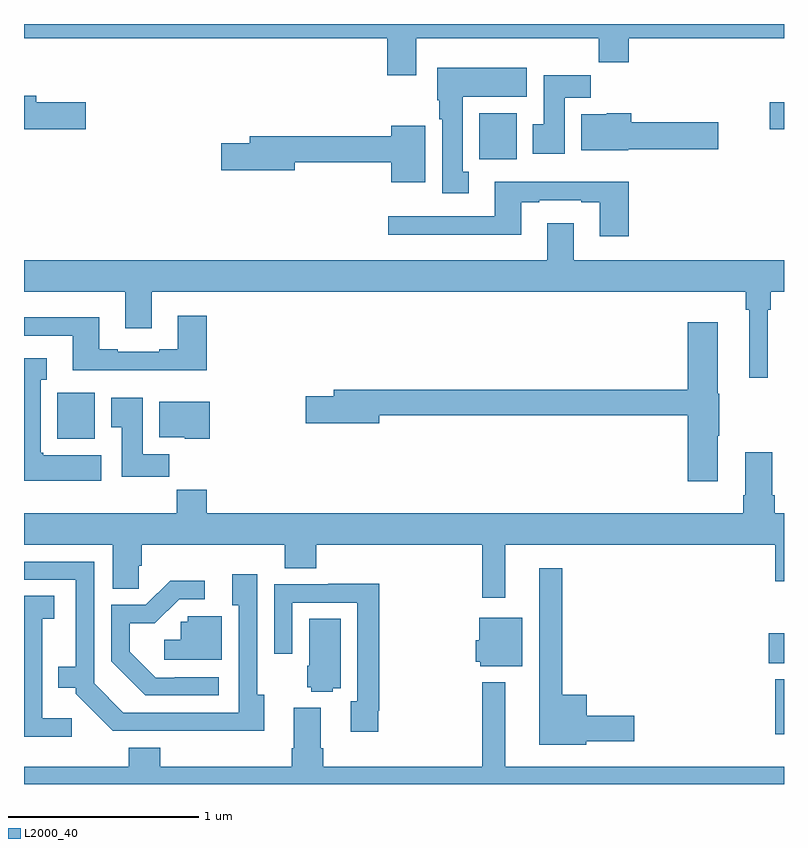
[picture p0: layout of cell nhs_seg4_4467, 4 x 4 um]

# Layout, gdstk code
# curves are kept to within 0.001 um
import gdstk
lib = gdstk.Library(unit=1e-6, precision=1e-09)
def R(c, l, rs):  # rectangles x0, y0, x1, y1
    for r in rs: c.add(gdstk.rectangle(r[:2], r[2:], *l))
def P(c, l, *ps):  # polygons
    for p in ps: c.add(gdstk.Polygon(p, *l))
L2000_40 = (2000, 40)

nhs_seg4_4467 = lib.new_cell('nhs_seg4_4467')
R(nhs_seg4_4467, L2000_40, [(354.953,789.162,355,789.451), (354.921,789.536,355,789.694), (351.176,790.718,351.373,790.96), (353.396,792.188,353.593,792.43), (354.924,792.347,355,792.489)])
P(nhs_seg4_4467, L2000_40, [(353.065,792.824),(354.025,792.824),(354.025,792.7),(354.182,792.7),(354.182,792.824),(355,792.824),(355,792.9),(351,792.9),(351,792.824),(352.913,792.824),(352.913,792.63),(353.065,792.63)],
  [(353.341,792.122),(353.308,792.122),(353.308,792.518),(353.647,792.518),(353.647,792.67),(353.174,792.67),(353.174,792.498),(353.186,792.498),(353.186,792.398),(353.201,792.398),(353.201,792.009),(353.341,792.009)],
  [(353.845,792.512),(353.984,792.512),(353.984,792.631),(353.735,792.631),(353.735,792.372),(353.678,792.372),(353.678,792.216),(353.845,792.216)],
  [(351.325,792.489),(351.064,792.489),(351.064,792.523),(351,792.523),(351,792.347),(351.325,792.347)],
  [(354.18,792.242),(354.655,792.242),(354.655,792.384),(354.197,792.384),(354.197,792.43),(354.066,792.43),(354.066,792.424),(353.933,792.424),(353.933,792.236),(354.18,792.236)],
  [(353.113,792.364),(352.934,792.364),(352.934,792.308),(352.187,792.308),(352.187,792.272),(352.038,792.272),(352.038,792.13),(352.426,792.13),(352.426,792.172),(352.934,792.172),(352.934,792.068),(353.113,792.068)],
  [(354.182,792.07),(353.477,792.07),(353.477,791.889),(352.917,791.889),(352.917,791.792),(353.617,791.792),(353.617,791.961),(353.713,791.961),(353.713,791.973),(353.933,791.973),(353.933,791.961),(354.029,791.961),(354.029,791.784),(354.182,791.784)],
  [(354.915,791.396),(354.929,791.396),(354.929,791.492),(355,791.492),(355,791.656),(353.893,791.656),(353.893,791.851),(353.753,791.851),(353.753,791.656),(351,791.656),(351,791.492),(351.533,791.492),(351.533,791.298),(351.673,791.298),(351.673,791.492),(354.799,791.492),(354.799,791.396),(354.818,791.396),(354.818,791.037),(354.915,791.037)],
  [(351.962,791.365),(351.809,791.365),(351.809,791.188),(351.713,791.188),(351.713,791.175),(351.493,791.175),(351.493,791.188),(351.397,791.188),(351.397,791.356),(351,791.356),(351,791.259),(351.257,791.259),(351.257,791.078),(351.962,791.078)],
  [(354.652,790.732),(354.66,790.732),(354.66,790.953),(354.652,790.953),(354.652,791.329),(354.494,791.329),(354.494,790.976),(352.631,790.976),(352.631,790.94),(352.482,790.94),(352.482,790.798),(352.87,790.798),(352.87,790.84),(354.494,790.84),(354.494,790.494),(354.652,790.494)],
  [(351.406,790.63),(351.102,790.63),(351.102,790.644),(351.088,790.644),(351.088,791.027),(351.121,791.027),(351.121,791.14),(351,791.14),(351,790.496),(351.406,790.496)],
  [(351.764,790.636),(351.625,790.636),(351.625,790.933),(351.458,790.933),(351.458,790.777),(351.515,790.777),(351.515,790.518),(351.764,790.518)],
  [(351.977,790.912),(351.713,790.912),(351.713,790.724),(351.846,790.724),(351.846,790.718),(351.977,790.718)],
  [(353.533,790.16),(354.953,790.16),(354.953,789.966),(355,789.966),(355,790.324),(354.95,790.324),(354.95,790.42),(354.937,790.42),(354.937,790.645),(354.797,790.645),(354.797,790.42),(354.785,790.42),(354.785,790.324),(351.962,790.324),(351.962,790.448),(351.805,790.448),(351.805,790.324),(351,790.324),(351,790.16),(351.467,790.16),(351.467,789.928),(351.605,789.928),(351.605,790.05),(351.62,790.05),(351.62,790.16),(352.373,790.16),(352.373,790.036),(352.538,790.036),(352.538,790.16),(353.412,790.16),(353.412,789.879),(353.533,789.879)],
  [(352.264,789.37),(352.227,789.37),(352.227,790.003),(352.097,790.003),(352.097,789.842),(352.131,789.842),(352.131,789.276),(351.522,789.276),(351.369,789.429),(351.369,790.071),(351,790.071),(351,789.975),(351.272,789.975),(351.272,789.517),(351.181,789.517),(351.181,789.407),(351.273,789.407),(351.273,789.375),(351.468,789.18),(352.264,789.179)],
  [(353.958,789.125),(354.211,789.125),(354.211,789.26),(353.962,789.26),(353.962,789.37),(353.833,789.37),(353.833,790.036),(353.711,790.036),(353.711,789.107),(353.958,789.107)],
  [(352.024,789.462),(351.793,789.462),(351.793,789.459),(351.693,789.459),(351.556,789.596),(351.556,789.746),(351.689,789.746),(351.816,789.873),(351.952,789.873),(351.952,789.971),(351.77,789.971),(351.642,789.843),(351.459,789.843),(351.459,789.545),(351.638,789.366),(352.024,789.366)],
  [(352.864,789.286),(352.871,789.286),(352.871,789.955),(352.601,789.955),(352.601,789.951),(352.317,789.951),(352.317,789.585),(352.413,789.585),(352.413,789.855),(352.755,789.855),(352.755,789.335),(352.721,789.335),(352.721,789.174),(352.864,789.174)],
  [(351.25,789.247),(351.096,789.247),(351.096,789.769),(351.16,789.769),(351.16,789.89),(351,789.89),(351,789.149),(351.25,789.149)],
  [(352.042,789.783),(351.861,789.783),(351.861,789.753),(351.825,789.753),(351.825,789.658),(351.738,789.658),(351.738,789.555),(352.042,789.555)],
  [(353.623,789.775),(353.396,789.775),(353.396,789.657),(353.378,789.657),(353.378,789.543),(353.4,789.543),(353.4,789.521),(353.623,789.521)],
  [(352.626,789.404),(352.666,789.404),(352.666,789.77),(352.502,789.77),(352.502,789.522),(352.49,789.522),(352.49,789.408),(352.512,789.408),(352.512,789.386),(352.626,789.386)],
  [(355,788.992),(353.533,788.992),(353.533,789.436),(353.412,789.436),(353.412,788.992),(352.574,788.992),(352.574,789.088),(352.561,789.088),(352.561,789.301),(352.421,789.301),(352.421,789.088),(352.409,789.088),(352.409,788.992),(351.716,788.992),(351.716,789.091),(351.551,789.091),(351.551,788.992),(351,788.992),(351,788.9),(355,788.9)])

lib.write_gds('nhs_seg4_4467.gds')
